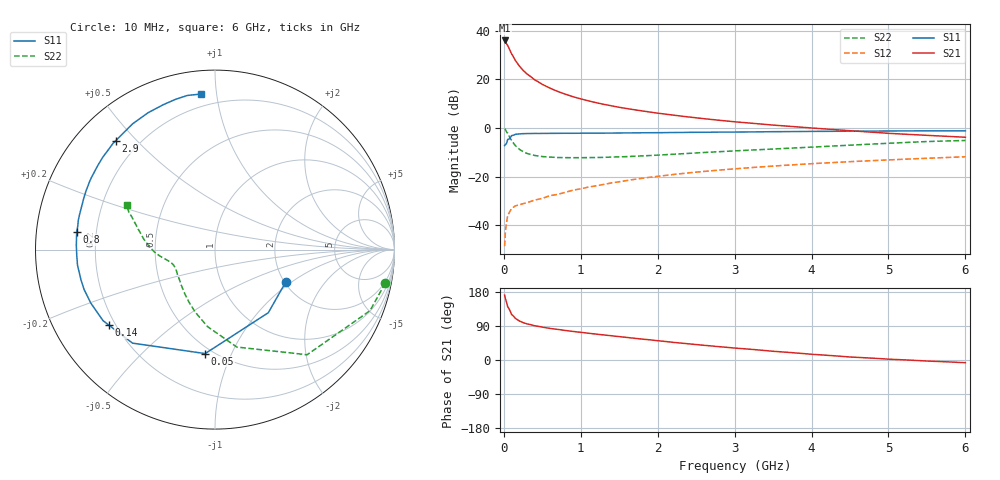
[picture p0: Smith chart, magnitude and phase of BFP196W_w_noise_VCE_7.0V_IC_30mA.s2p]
! Infineon Technologies  Discrete & RF Semiconductors
! BFP196W
! VCE =  7.0 V,  IC =  30 mA
! Common Emitter S-Parameters:  Jan 2017
# GHz  S  MA  R  50
!  f  S11  S21  S12  S22
! GHz  MAG  ANG  MAG  ANG  MAG  ANG  MAG  ANG
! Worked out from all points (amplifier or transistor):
!   77 points, 10 MHz to 6 GHz, reference 50 ohm
!   highest |S21| = 36.0 dB at 10 MHz (marker M1)
!   |S21| within 3 dB of that: start of sweep to 64.07 MHz
!   unconditionally stable (mu >= 1): 877.6 MHz to 3.236 GHz
!   at 130 MHz: K = 0.30, MSG = 30.7 dB, |S12| = -32.5 dB
!   at 2.2 GHz: K = 1.05, MAG = 10.9 dB, |S12| = -19.2 dB
!   at 6 GHz: K = 0.91, MSG = 4.0 dB, |S12| = -11.9 dB
!   lowest NFmin = 1.13 dB at 450 MHz
!   S11 on the Smith chart (normalised r, x): 10 MHz: 2.02, -0.91; 50 MHz: 0.46, -0.80; 140 MHz: 0.17, -0.31; 800 MHz: 0.13, +0.06; 2.9 GHz: 0.12, +0.44; 6 GHz: 0.13, +0.90
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0.01  0.4334 -25.0  62.95 171.3  0.0037 82.0  0.9668 -11.1
0.02  0.4603 -49.8  60.59 161.9  0.0071 74.9  0.9284 -21.5
0.05  0.5819 -95.4  49.52 140.5  0.0157 57.6  0.7788 -48.8
0.1  0.6948 -131.4  33.63 120.1  0.0219 43.2  0.5564 -77.4
0.14  0.7255 -144.5  26.18 112.4  0.0244 38.8  0.4522 -91.1
0.15  0.7388 -147.6  24.43 109.7  0.025 37.8  0.4314 -95.5
0.2  0.7534 -156.7  18.89 103.2  0.0261 37.7  0.3656 -107.5
0.25  0.7626 -163.1  15.36 98.6  0.0277 37.6  0.3249 -116.8
0.3  0.7656 -167.5  12.89 95.4  0.0289 39.3  0.2993 -124.0
0.4  0.771 -173.6  9.794 90.4  0.0328 42.2  0.2715 -134.2
0.5  0.771 -178.1  7.857 86.7  0.0356 45.9  0.2575 -140.9
0.6  0.7728 178.4  6.574 83.4  0.0404 48.4  0.2517 -146.1
0.7  0.7742 175.5  5.632 80.8  0.043 50.9  0.2462 -149.7
0.8  0.7768 172.7  4.937 77.9  0.0475 53.6  0.2447 -152.3
1.1  0.7794 165.7  3.605 70.7  0.0607 56.0  0.2453 -157.8
1.5  0.7867 157.4  2.656 61.7  0.0781 57.3  0.2543 -163.0
2.1  0.8012 145.8  1.923 48.9  0.1054 55.6  0.2815 -169.1
2.9  0.8211 132.3  1.387 33.4  0.1399 50.4  0.3309 -176.7
3.1  0.8244 129.2  1.297 30.0  0.1481 49.0  0.3434 -178.8
4.1  0.8496 114.8  0.972 13.8  0.1874 41.7  0.4103 170.0
5.1  0.8664 103.9  0.76 1.3  0.2234 34.0  0.4916 159.2
6  0.8703 95.3  0.643 -7.1  0.2552 27.2  0.5521 153.2
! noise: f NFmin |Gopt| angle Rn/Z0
0.45  1.13  0.45  178  0.05
0.9  1.29  0.52  -176  0.06
1.9  2.14  0.68  -151  0.13
2.4  2.54  0.73  -146  0.22
